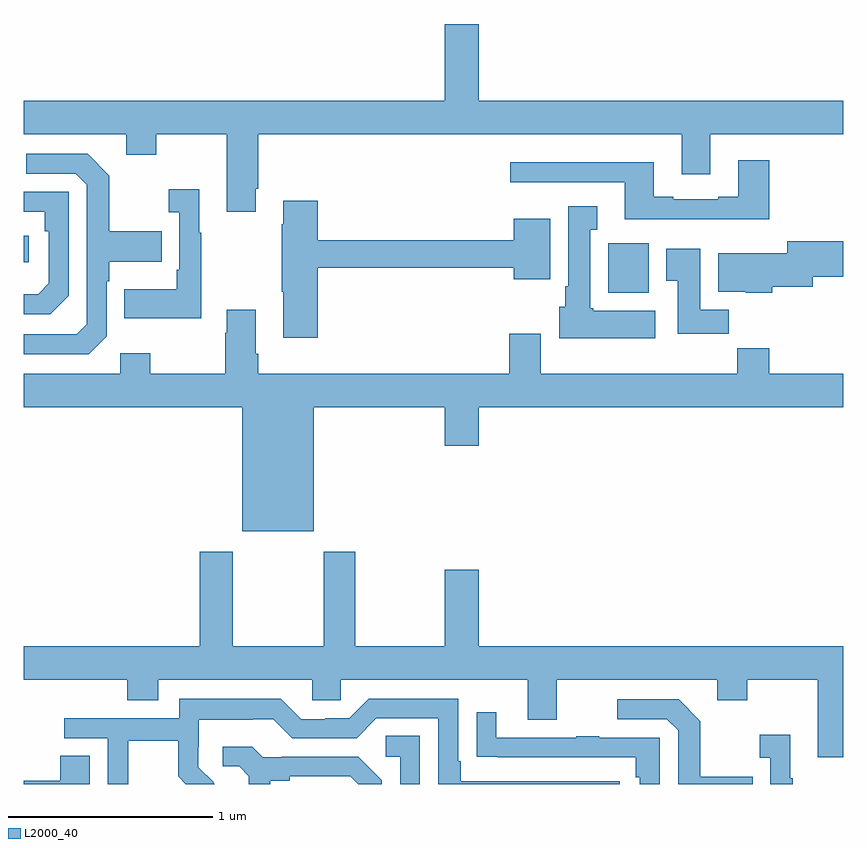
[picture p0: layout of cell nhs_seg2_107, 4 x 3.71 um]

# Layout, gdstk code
import gdstk
lib = gdstk.Library(unit=1e-6, precision=1e-09)
def R(c, l, rs):  # rectangles x0, y0, x1, y1
    for r in rs: c.add(gdstk.rectangle(r[:2], r[2:], *l))
def P(c, l, *ps):  # polygons
    for p in ps: c.add(gdstk.Polygon(p, *l))
L2000_40 = (2000, 40)

nhs_seg2_107 = lib.new_cell('nhs_seg2_107')
R(nhs_seg2_107, L2000_40, [(117.854,644.198,118.051,644.44), (115,644.348,115.024,644.478)])
P(nhs_seg2_107, L2000_40, [(116.131,644.707),(116.144,644.707),(116.144,644.972),(118.211,644.972),(118.211,644.778),(118.351,644.778),(118.351,644.972),(119,644.972),(119,645.136),(117.22,645.136),(117.22,645.511),(117.056,645.511),(117.056,645.136),(115,645.136),(115,644.972),(115.499,644.972),(115.499,644.873),(115.647,644.873),(115.647,644.972),(115.991,644.972),(115.991,644.595),(116.131,644.595)],
  [(115.404,643.986),(115.404,644.255),(115.417,644.255),(115.417,644.351),(115.673,644.351),(115.673,644.499),(115.417,644.499),(115.417,644.771),(115.311,644.877),(115.011,644.877),(115.011,644.781),(115.254,644.781),(115.308,644.727),(115.308,644.046),(115.257,643.995),(115,643.995),(115,643.899),(115.317,643.899)],
  [(118.64,644.845),(118.487,644.845),(118.487,644.668),(118.391,644.668),(118.391,644.655),(118.171,644.655),(118.171,644.668),(118.075,644.668),(118.075,644.836),(117.375,644.836),(117.375,644.739),(117.935,644.739),(117.935,644.558),(118.64,644.558)],
  [(115.867,644.491),(115.855,644.491),(115.855,644.704),(115.707,644.704),(115.707,644.591),(115.758,644.591),(115.758,644.311),(115.746,644.311),(115.746,644.215),(115.489,644.215),(115.489,644.075),(115.867,644.075)],
  [(115.218,644.184),(115.218,644.691),(115,644.691),(115,644.595),(115.102,644.595),(115.102,644.498),(115.122,644.498),(115.122,644.244),(115.069,644.191),(115,644.191),(115,644.094),(115.128,644.094)],
  [(116.435,644.32),(117.392,644.32),(117.392,644.264),(117.571,644.264),(117.571,644.56),(117.392,644.56),(117.392,644.456),(116.435,644.456),(116.435,644.647),(116.267,644.647),(116.267,644.534),(116.26,644.534),(116.26,644.203),(116.267,644.203),(116.267,643.98),(116.435,643.98)],
  [(118.084,644.11),(117.78,644.11),(117.78,644.124),(117.766,644.124),(117.766,644.507),(117.799,644.507),(117.799,644.62),(117.659,644.62),(117.659,644.23),(117.644,644.23),(117.644,644.13),(117.614,644.13),(117.614,643.976),(118.084,643.976)],
  [(118.655,644.228),(118.852,644.228),(118.852,644.278),(119,644.278),(119,644.45),(118.728,644.45),(118.728,644.392),(118.391,644.392),(118.391,644.204),(118.524,644.204),(118.524,644.198),(118.655,644.198)],
  [(118.442,644.116),(118.303,644.116),(118.303,644.413),(118.136,644.413),(118.136,644.257),(118.193,644.257),(118.193,643.998),(118.442,643.998)],
  [(116.416,643.64),(117.056,643.64),(117.056,643.452),(117.22,643.452),(117.22,643.64),(119,643.64),(119,643.804),(118.64,643.804),(118.64,643.928),(118.483,643.928),(118.483,643.804),(117.523,643.804),(117.523,643.999),(117.371,643.999),(117.371,643.804),(116.144,643.804),(116.144,643.9),(116.131,643.9),(116.131,644.116),(115.991,644.116),(115.991,644.003),(115.984,644.003),(115.984,643.804),(115.617,643.804),(115.617,643.903),(115.47,643.903),(115.47,643.804),(115,643.804),(115,643.64),(116.066,643.64),(116.066,643.034),(116.416,643.034)],
  [(119,642.472),(117.22,642.472),(117.22,642.847),(117.056,642.847),(117.056,642.472),(116.619,642.472),(116.619,642.934),(116.464,642.934),(116.464,642.472),(116.019,642.472),(116.019,642.934),(115.859,642.934),(115.859,642.472),(115,642.472),(115,642.308),(115.505,642.308),(115.505,642.209),(115.657,642.209),(115.657,642.308),(116.409,642.308),(116.409,642.21),(116.547,642.21),(116.547,642.308),(117.461,642.308),(117.461,642.114),(117.601,642.114),(117.601,642.308),(118.385,642.308),(118.385,642.209),(118.533,642.209),(118.533,642.308),(118.877,642.308),(118.877,641.931),(119,641.931)],
  [(115.509,642.012),(115.753,642.012),(115.753,641.837),(115.79,641.8),(115.932,641.8),(115.925,641.807),(115.926,641.808),(115.852,641.882),(115.852,641.979),(115.854,641.979),(115.854,642.113),(116.117,642.113),(116.117,642.117),(116.217,642.117),(116.31,642.024),(116.625,642.024),(116.721,642.12),(117.024,642.12),(117.024,641.8),(117.91,641.8),(117.91,641.814),(117.133,641.814),(117.133,641.911),(117.12,641.911),(117.12,642.216),(116.685,642.216),(116.589,642.12),(116.471,642.12),(116.471,642.117),(116.355,642.117),(116.255,642.217),(115.758,642.217),(115.758,642.12),(115.197,642.12),(115.197,642.024),(115.41,642.024),(115.41,641.8),(115.509,641.8)],
  [(118.559,641.835),(118.303,641.835),(118.303,642.107),(118.197,642.213),(117.897,642.213),(117.897,642.117),(118.14,642.117),(118.194,642.063),(118.194,641.8),(118.559,641.8)],
  [(118.104,642.027),(117.809,642.027),(117.809,642.032),(117.697,642.032),(117.697,642.027),(117.307,642.027),(117.307,642.151),(117.211,642.151),(117.211,641.932),(117.313,641.932),(117.313,641.931),(117.988,641.931),(117.988,641.834),(118.008,641.834),(118.008,641.8),(118.104,641.8)],
  [(118.753,641.827),(118.741,641.827),(118.741,642.04),(118.593,642.04),(118.593,641.927),(118.644,641.927),(118.644,641.8),(118.753,641.8)],
  [(116.934,642.035),(116.766,642.035),(116.766,641.934),(116.838,641.934),(116.838,641.8),(116.934,641.8)],
  [(116.203,641.816),(116.299,641.816),(116.299,641.838),(116.594,641.838),(116.632,641.8),(116.748,641.8),(116.748,641.818),(116.632,641.934),(116.26,641.934),(116.26,641.931),(116.166,641.931),(116.114,641.983),(115.971,641.983),(115.971,641.886),(116.052,641.886),(116.099,641.839),(116.099,641.8),(116.203,641.8)],
  [(115.321,641.939),(115.178,641.939),(115.178,641.816),(115,641.816),(115,641.8),(115.321,641.8)])

lib.write_gds('nhs_seg2_107.gds')
